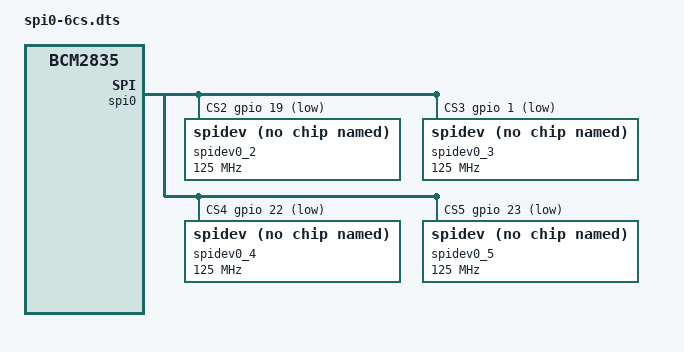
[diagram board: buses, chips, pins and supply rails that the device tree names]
/dts-v1/;
/plugin/;

/* See https://www.raspberrypi.org/forums/viewtopic.php?p=1852392#p1471583 */

/ {
	compatible = "brcm,bcm2835";

	fragment@0 {
		target = <&spi0_cs_pins>;
		frag0: __overlay__ {
			brcm,pins = <8 7 19 1 22 23>; /* header pins 24, 26, 35, 28, 15, 16 */
			brcm,function = <1>;     /* out */
		};
	};

	fragment@1 {
		target = <&spi0>;
		frag1: __overlay__ {
			#address-cells = <1>;
			#size-cells = <0>;

			cs-gpios = <&gpio 8 1>, <&gpio 7 1>, <&gpio 19 1>,
				   <&gpio 1 1>, <&gpio 22 1>, <&gpio 23 1>;
			status = "okay";

			spidev0_2: spidev@2 {
				compatible = "spidev";
				reg = <2>;	/* CE2 */
				#address-cells = <1>;
				#size-cells = <0>;
				spi-max-frequency = <125000000>;
			};

			spidev0_3: spidev@3 {
				compatible = "spidev";
				reg = <3>;	/* CE3 */
				#address-cells = <1>;
				#size-cells = <0>;
				spi-max-frequency = <125000000>;
			};

			spidev0_4: spidev@4 {
				compatible = "spidev";
				reg = <4>;	/* CE4 */
				#address-cells = <1>;
				#size-cells = <0>;
				spi-max-frequency = <125000000>;
			};

			spidev0_5: spidev@5 {
				compatible = "spidev";
				reg = <5>;	/* CE5 */
				#address-cells = <1>;
				#size-cells = <0>;
				spi-max-frequency = <125000000>;
			};
		};
	};

	__overrides__ {
		cs0_pin  = <&frag0>,"brcm,pins:0",
			   <&frag1>,"cs-gpios:4";
		cs1_pin  = <&frag0>,"brcm,pins:4",
			   <&frag1>,"cs-gpios:16";
		cs2_pin  = <&frag0>,"brcm,pins:8",
			   <&frag1>,"cs-gpios:28";
		cs3_pin  = <&frag0>,"brcm,pins:12",  /* Offset 4*CS into brcm pins array */
			   <&frag1>,"cs-gpios:40";   /* Offset 12*CS+4 into the cs-gpios array of structs */
		cs4_pin  = <&frag0>,"brcm,pins:16",
			   <&frag1>,"cs-gpios:52";
		cs5_pin  = <&frag0>,"brcm,pins:20",
			   <&frag1>,"cs-gpios:64";
		/* See https://www.raspberrypi.org/forums/viewtopic.php?p=1852392#p1850334 */
		cs2_spidev = <&spidev0_2>, "status";
		cs3_spidev = <&spidev0_3>, "status";
		cs4_spidev = <&spidev0_4>, "status";
		cs5_spidev = <&spidev0_5>, "status";
	};
};
